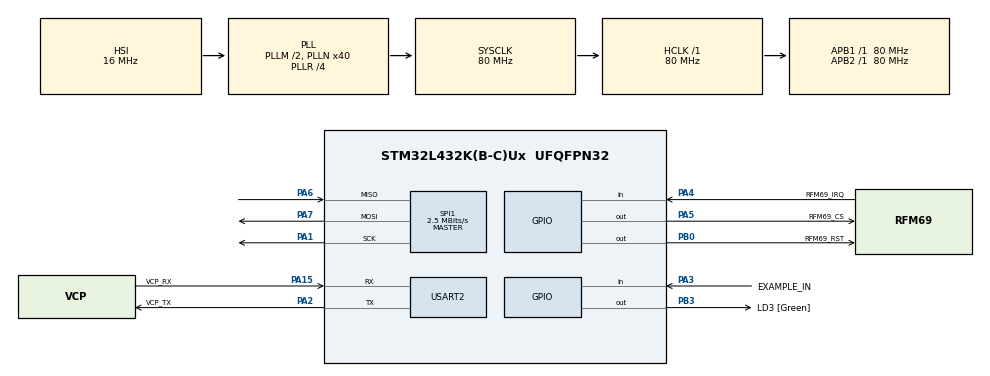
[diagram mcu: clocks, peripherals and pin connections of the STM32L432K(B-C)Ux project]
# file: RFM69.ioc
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Mcu.Family=STM32L4
Mcu.Name=STM32L432K(B-C)Ux
Mcu.Package=UFQFPN32
NVIC.PriorityGroup=NVIC_PRIORITYGROUP_4
PA0.GPIO_Label=MCO [High speed clock in]
PA0.Mode=HSE-External-Clock-Source-for-LittleOrca
PA0.Signal=RCC_CK_IN
PA1.Mode=Full_Duplex_Master
PA1.Signal=SPI1_SCK
PA13\ (JTMS-SWDIO).GPIO_Label=SWDIO
PA13\ (JTMS-SWDIO).Mode=Serial_Wire
PA13\ (JTMS-SWDIO).Signal=SYS_JTMS-SWDIO
PA14\ (JTCK-SWCLK).GPIO_Label=SWCLK
PA14\ (JTCK-SWCLK).Mode=Serial_Wire
PA14\ (JTCK-SWCLK).Signal=SYS_JTCK-SWCLK
PA15\ (JTDI).GPIO_Label=VCP_RX
PA15\ (JTDI).Mode=Asynchronous
PA15\ (JTDI).Signal=USART2_RX
PA2.GPIO_Label=VCP_TX
PA2.Mode=Asynchronous
PA2.Signal=USART2_TX
PA3.GPIO_Label=EXAMPLE_IN
PA3.GPIO_PuPd=GPIO_PULLDOWN
PA3.Signal=GPIO_Input
PA4.GPIO_Label=RFM69_IRQ
PA4.GPIO_PuPd=GPIO_PULLDOWN
PA4.Signal=GPIO_Input
PA5.GPIO_Label=RFM69_CS
PA5.Signal=GPIO_Output
PA6.Mode=Full_Duplex_Master
PA6.Signal=SPI1_MISO
PA7.Mode=Full_Duplex_Master
PA7.Signal=SPI1_MOSI
PB0.GPIO_Label=RFM69_RST
PB0.Signal=GPIO_Output
PB3\ (JTDO-TRACESWO).GPIO_Label=LD3 [Green]
PB3\ (JTDO-TRACESWO).GPIO_PuPd=GPIO_NOPULL
PB3\ (JTDO-TRACESWO).Signal=GPIO_Output
PC14-OSC32_IN\ (PC14).Mode=LSE-External-Oscillator
PC14-OSC32_IN\ (PC14).Signal=RCC_OSC32_IN
PC15-OSC32_OUT\ (PC15).Mode=LSE-External-Oscillator
PC15-OSC32_OUT\ (PC15).Signal=RCC_OSC32_OUT
ProjectManager.HeapSize=0x200
ProjectManager.StackSize=0x400
ProjectManager.TargetToolchain=STM32CubeIDE
RCC.ADCFreq_Value=32000000
RCC.AHBFreq_Value=80000000
RCC.APB1Freq_Value=80000000
RCC.APB1TimFreq_Value=80000000
RCC.APB2Freq_Value=80000000
RCC.APB2TimFreq_Value=80000000
RCC.CortexFreq_Value=80000000
RCC.HCLKFreq_Value=80000000
RCC.HSE_VALUE=8000000
RCC.HSI16_VALUE=16000000
RCC.HSI48_VALUE=48000000
RCC.HSI_VALUE=16000000
RCC.MSI_VALUE=4000000
RCC.PLLM=2
RCC.PLLMUL=RCC_PLLMUL_4
RCC.PLLN=40
RCC.PLLR=RCC_PLLR_DIV4
RCC.PLLSourceVirtual=RCC_PLLSOURCE_HSI
RCC.SYSCLKFreq_VALUE=80000000
RCC.SYSCLKSource=RCC_SYSCLKSOURCE_PLLCLK
RCC.USBFreq_Value=32000000
RCC.VCOOutputFreq_Value=320000000
SPI1.BaudRatePrescaler=SPI_BAUDRATEPRESCALER_32
SPI1.CalculateBaudRate=2.5 MBits/s
SPI1.DataSize=SPI_DATASIZE_8BIT
SPI1.Direction=SPI_DIRECTION_2LINES
SPI1.Mode=SPI_MODE_MASTER
SPI1.VirtualType=VM_MASTER
USART2.VirtualMode-Asynchronous=VM_ASYNC
board=NUCLEO-L432KC

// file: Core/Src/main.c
/* USER CODE BEGIN Header */
/**
  ******************************************************************************
  * @file           : main.c
  * @brief          : Main program body
  ******************************************************************************
  * @attention
  *
  * Copyright (c) 2023 STMicroelectronics.
  * All rights reserved.
  *
  * This software is licensed under terms that can be found in the LICENSE file
  * in the root directory of this software component.
  * If no LICENSE file comes with this software, it is provided AS-IS.
  *
  ******************************************************************************
  ******************************************************************************

 SAMPLE DEBUG CODE

 TEXT
 logBufLen = sprintf(logBuf, "Text\r\n");
 HAL_UART_Transmit(&huart2, (uint8_t *)logBuf, logBufLen, 100);

 INT
 logBufLen = sprintf(logBuf, "My Number %d\r\n",myNumber);
 HAL_UART_Transmit(&huart2, (uint8_t *)logBuf, logBufLen, 100);

 LED
 HAL_GPIO_TogglePin(LD3_GPIO_Port, LD3_Pin);
 HAL_Delay(1000);

  ******************************************************************************
  */

/* USER CODE END Header */
#include "main.h"

/* USER CODE BEGIN Includes */
#include "stdbool.h"
#include "RFM69.h"
#include "RFM69_ext.h"
/* USER CODE END Includes */

SPI_HandleTypeDef hspi1;

UART_HandleTypeDef huart2;

void SystemClock_Config(void);
static void MX_GPIO_Init(void);
static void MX_USART2_UART_Init(void);
static void MX_SPI1_Init(void);

int main(void)
{

  /* MCU Configuration--------------------------------------------------------*/

  /* Reset of all peripherals, Initializes the Flash interface and the Systick. */
  HAL_Init();

  /* Configure the system clock */
  SystemClock_Config();

  /* Initialize all configured peripherals */
  MX_GPIO_Init();
  MX_USART2_UART_Init();
  MX_SPI1_Init();
  /* USER CODE BEGIN 2 */

 char logBuf[100];
 int logBufLen;
 bool radioInitalized;

  uint16_t networkID = 210; // a.k.a. Network Group
  uint8_t nodeID = 1;
  uint16_t freqBand = 915;

  /* available frequency bands
  #define RF69_315MHZ            315
  #define RF69_433MHZ            433
  #define RF69_868MHZ            868
  #define RF69_915MHZ            915
  see registers.h for even more.
  */

  uint8_t toAddress = 1;
  bool requestACK = false;

  typedef struct
  {
  	uint8_t count1; //store this nodeId
  	char text[12]; //uptime in ms
  }
  Payload;
  Payload theData;
  theData.count1 = 0;
  uint8_t myCount = 0;
  bool isTransmitter = 0;

  //Initalize the radio
  HAL_Delay(10);
  // TODO: RFM69_RST();
  HAL_Delay(10);
  if (RFM69_initialize(freqBand, nodeID, networkID))
  {
  	logBufLen = sprintf(logBuf, "RFM69 Initialized. Freq %dMHz. Node %d. Group %d.\r\n", freqBand, nodeID, networkID);
  	HAL_UART_Transmit(&huart2, (uint8_t *)logBuf, logBufLen, 100);

  	RFM69_readAllRegs();
  	radioInitalized = 1;
  }
  else
  {
	logBufLen = sprintf(logBuf,"RFM69 not connected.\r\n");
	HAL_UART_Transmit(&huart2, (uint8_t *)logBuf, logBufLen, 100);
	radioInitalized = 0;
  }

  /* USER CODE END 2 */

  /* Infinite loop */
  /* USER CODE BEGIN WHILE */
  while (1)
  {
	HAL_GPIO_TogglePin(LD3_GPIO_Port, LD3_Pin);

	if (radioInitalized)
	{
	  if (isTransmitter)
	  {
		// SAMPLE TRANSMIT CODE
		theData.count1++;
		theData.text[1] = 'H';
		theData.text[2] = 'e';
		theData.text[3] = 'l';
		theData.text[4] = 'l';
		theData.text[5] = 'o';
		theData.text[6] = ' ';
		theData.text[7] = 'W';
		theData.text[8] = 'o';
		theData.text[9] = 'r';
		theData.text[10] = 'l';
		theData.text[11] = 'd';
		theData.text[12] = '!';

		myCount++;

		RFM69_send(toAddress, (const void *)(&myCount), 1, requestACK);

		logBufLen = sprintf(logBuf, "Payload Sent!\r\n");
		HAL_UART_Transmit(&huart2, (uint8_t *)logBuf, logBufLen, 100);

		HAL_Delay(1000);  // send every ____ milliseconds.
	  }
	  else
	  {
	    // SAMPLE RECEIVE CODE
		if (RFM69_ReadDIO0Pin())
		{
		  RFM69_interruptHandler();
		}

		if (RFM69_receiveDone())
		{
		  logBufLen = sprintf(logBuf,"Payload Received!\r\n");
		  HAL_UART_Transmit(&huart2, (uint8_t *)logBuf, logBufLen, 100);

		  logBufLen = sprintf(logBuf,"Rssi is: %i \r\n", RFM69_ReturnRssi());
		  HAL_UART_Transmit(&huart2, (uint8_t *)logBuf, logBufLen, 100);

		  PrintRawBytes();

		}
	  }
	}
	else
	{
      logBufLen = sprintf(logBuf,"RFM69 not connected.\r\n");
	  HAL_UART_Transmit(&huart2, (uint8_t *)logBuf, logBufLen, 100);

	  HAL_Delay(2000);
	}

    /* USER CODE END WHILE */

  }
}

void SystemClock_Config(void)
{
  RCC_OscInitTypeDef RCC_OscInitStruct = {0};
  RCC_ClkInitTypeDef RCC_ClkInitStruct = {0};

  /** Configure the main internal regulator output voltage
  */
  if (HAL_PWREx_ControlVoltageScaling(PWR_REGULATOR_VOLTAGE_SCALE1) != HAL_OK)
  {
    Error_Handler();
  }

  /** Initializes the RCC Oscillators according to the specified parameters
  * in the RCC_OscInitTypeDef structure.
  */
  RCC_OscInitStruct.OscillatorType = RCC_OSCILLATORTYPE_HSI;
  RCC_OscInitStruct.HSIState = RCC_HSI_ON;
  RCC_OscInitStruct.HSICalibrationValue = RCC_HSICALIBRATION_DEFAULT;
  RCC_OscInitStruct.PLL.PLLState = RCC_PLL_ON;
  RCC_OscInitStruct.PLL.PLLSource = RCC_PLLSOURCE_HSI;
  RCC_OscInitStruct.PLL.PLLM = 2;
  RCC_OscInitStruct.PLL.PLLN = 40;
  RCC_OscInitStruct.PLL.PLLP = RCC_PLLP_DIV7;
  RCC_OscInitStruct.PLL.PLLQ = RCC_PLLQ_DIV2;
  RCC_OscInitStruct.PLL.PLLR = RCC_PLLR_DIV4;
  if (HAL_RCC_OscConfig(&RCC_OscInitStruct) != HAL_OK)
  {
    Error_Handler();
  }

  /** Initializes the CPU, AHB and APB buses clocks
  */
  RCC_ClkInitStruct.ClockType = RCC_CLOCKTYPE_HCLK|RCC_CLOCKTYPE_SYSCLK
                              |RCC_CLOCKTYPE_PCLK1|RCC_CLOCKTYPE_PCLK2;
  RCC_ClkInitStruct.SYSCLKSource = RCC_SYSCLKSOURCE_PLLCLK;
  RCC_ClkInitStruct.AHBCLKDivider = RCC_SYSCLK_DIV1;
  RCC_ClkInitStruct.APB1CLKDivider = RCC_HCLK_DIV1;
  RCC_ClkInitStruct.APB2CLKDivider = RCC_HCLK_DIV1;

  if (HAL_RCC_ClockConfig(&RCC_ClkInitStruct, FLASH_LATENCY_4) != HAL_OK)
  {
    Error_Handler();
  }
}

static void MX_SPI1_Init(void)
{

  /* SPI1 parameter configuration*/
  hspi1.Instance = SPI1;
  hspi1.Init.Mode = SPI_MODE_MASTER;
  hspi1.Init.Direction = SPI_DIRECTION_2LINES;
  hspi1.Init.DataSize = SPI_DATASIZE_8BIT;
  hspi1.Init.CLKPolarity = SPI_POLARITY_LOW;
  hspi1.Init.CLKPhase = SPI_PHASE_1EDGE;
  hspi1.Init.NSS = SPI_NSS_SOFT;
  hspi1.Init.BaudRatePrescaler = SPI_BAUDRATEPRESCALER_32;
  hspi1.Init.FirstBit = SPI_FIRSTBIT_MSB;
  hspi1.Init.TIMode = SPI_TIMODE_DISABLE;
  hspi1.Init.CRCCalculation = SPI_CRCCALCULATION_DISABLE;
  hspi1.Init.CRCPolynomial = 7;
  hspi1.Init.CRCLength = SPI_CRC_LENGTH_DATASIZE;
  hspi1.Init.NSSPMode = SPI_NSS_PULSE_ENABLE;
  if (HAL_SPI_Init(&hspi1) != HAL_OK)
  {
    Error_Handler();
  }

}

static void MX_USART2_UART_Init(void)
{

  huart2.Instance = USART2;
  huart2.Init.BaudRate = 115200;
  huart2.Init.WordLength = UART_WORDLENGTH_8B;
  huart2.Init.StopBits = UART_STOPBITS_1;
  huart2.Init.Parity = UART_PARITY_NONE;
  huart2.Init.Mode = UART_MODE_TX_RX;
  huart2.Init.HwFlowCtl = UART_HWCONTROL_NONE;
  huart2.Init.OverSampling = UART_OVERSAMPLING_16;
  huart2.Init.OneBitSampling = UART_ONE_BIT_SAMPLE_DISABLE;
  huart2.AdvancedInit.AdvFeatureInit = UART_ADVFEATURE_NO_INIT;
  if (HAL_UART_Init(&huart2) != HAL_OK)
  {
    Error_Handler();
  }

}

static void MX_GPIO_Init(void)
{
  GPIO_InitTypeDef GPIO_InitStruct = {0};

  /* GPIO Ports Clock Enable */
  __HAL_RCC_GPIOC_CLK_ENABLE();
  __HAL_RCC_GPIOA_CLK_ENABLE();
  __HAL_RCC_GPIOB_CLK_ENABLE();

  /*Configure GPIO pin Output Level */
  HAL_GPIO_WritePin(RFM69_CS_GPIO_Port, RFM69_CS_Pin, GPIO_PIN_RESET);

  /*Configure GPIO pin Output Level */
  HAL_GPIO_WritePin(GPIOB, RFM69_RST_Pin|LD3_Pin, GPIO_PIN_RESET);

  /*Configure GPIO pins : EXAMPLE_IN_Pin RFM69_IRQ_Pin */
  GPIO_InitStruct.Pin = EXAMPLE_IN_Pin|RFM69_IRQ_Pin;
  GPIO_InitStruct.Mode = GPIO_MODE_INPUT;
  GPIO_InitStruct.Pull = GPIO_PULLDOWN;
  HAL_GPIO_Init(GPIOA, &GPIO_InitStruct);

  /*Configure GPIO pin : RFM69_CS_Pin */
  GPIO_InitStruct.Pin = RFM69_CS_Pin;
  GPIO_InitStruct.Mode = GPIO_MODE_OUTPUT_PP;
  GPIO_InitStruct.Pull = GPIO_NOPULL;
  GPIO_InitStruct.Speed = GPIO_SPEED_FREQ_LOW;
  HAL_GPIO_Init(RFM69_CS_GPIO_Port, &GPIO_InitStruct);

  /*Configure GPIO pins : RFM69_RST_Pin LD3_Pin */
  GPIO_InitStruct.Pin = RFM69_RST_Pin|LD3_Pin;
  GPIO_InitStruct.Mode = GPIO_MODE_OUTPUT_PP;
  GPIO_InitStruct.Pull = GPIO_NOPULL;
  GPIO_InitStruct.Speed = GPIO_SPEED_FREQ_LOW;
  HAL_GPIO_Init(GPIOB, &GPIO_InitStruct);

}

void Error_Handler(void)
{
  __disable_irq();
  while (1)
  {
  }
}
